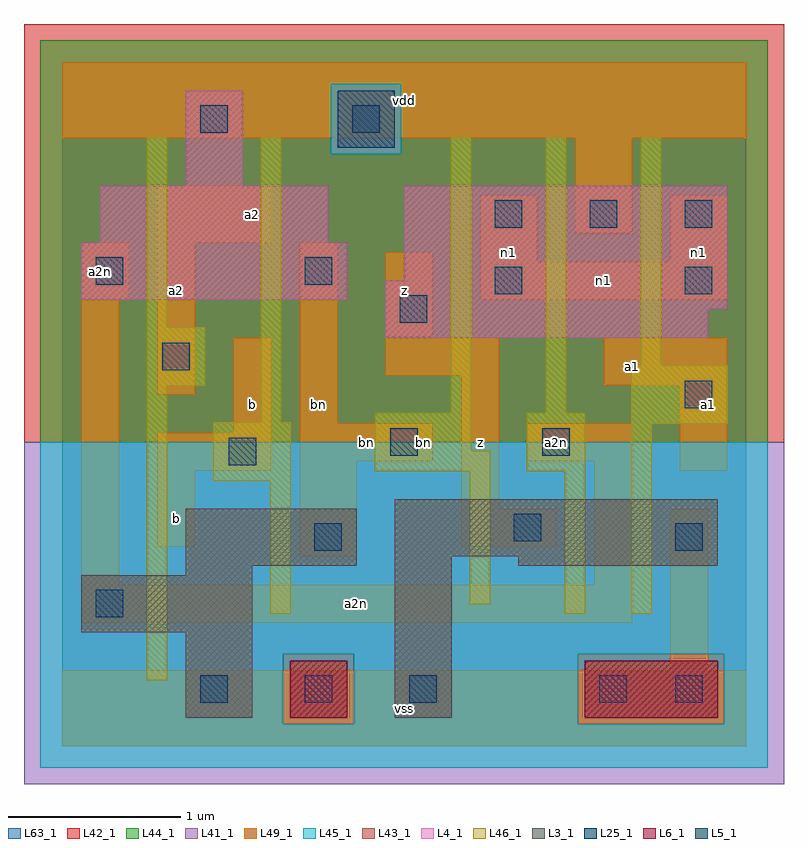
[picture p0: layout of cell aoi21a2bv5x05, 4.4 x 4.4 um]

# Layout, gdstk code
import gdstk
lib = gdstk.Library(unit=1e-6, precision=1e-09)
def R(c, l, rs):  # rectangles x0, y0, x1, y1
    for r in rs: c.add(gdstk.rectangle(r[:2], r[2:], *l))
def A(c, l, x, y, w, h, nx, ny, dx, dy):  # array of equal rectangles
    R(c, l, [(x+i*dx, y+j*dy, x+i*dx+w, y+j*dy+h) for i in range(nx) for j in range(ny)])
L3_1 = (3, 1)
L4_1 = (4, 1)
L5_1 = (5, 1)
L6_1 = (6, 1)
L25_1 = (25, 1)
L41_1 = (41, 1)
L42_1 = (42, 1)
L43_1 = (43, 1)
L44_1 = (44, 1)
L45_1 = (45, 1)
L46_1 = (46, 1)
L49_1 = (49, 1)
L63_1 = (63, 1)

aoi21a2bv5x05 = lib.new_cell('aoi21a2bv5x05')
R(aoi21a2bv5x05, L3_1, [(0.715,0.165,1.1,0.66), (1.925,0.165,2.255,1.1), (0.11,0.66,1.1,0.99), (0.715,0.99,1.1,1.045), (0.715,1.045,1.705,1.375), (2.64,1.045,3.795,1.1), (1.925,1.1,3.795,1.43)])
R(aoi21a2bv5x05, L4_1, [(1.87,2.365,3.74,2.53), (1.87,2.53,3.85,2.695), (0.11,2.585,1.65,2.915), (1.98,2.695,3.85,3.245), (0.22,2.915,1.54,3.245), (0.715,3.245,1.045,3.795)])
R(aoi21a2bv5x05, L5_1, [(1.595,3.465,1.925,3.795)])
R(aoi21a2bv5x05, L6_1, [(1.32,0.165,1.65,0.495), (3.025,0.165,3.795,0.495)])
A(aoi21a2bv5x05, L25_1, 0.8, 0.25, 0.16, 0.16, 3, 1, 0.605, 0)
A(aoi21a2bv5x05, L25_1, 2.505, 3, 0.16, 0.16, 3, 1, 0.55, 0)
R(aoi21a2bv5x05, L25_1, [(3.11,0.25,3.27,0.41), (3.55,0.25,3.71,0.41), (0.195,0.745,0.355,0.905), (1.46,1.13,1.62,1.29), (3.55,1.13,3.71,1.29), (2.615,1.185,2.775,1.345), (0.965,1.625,1.125,1.785), (1.9,1.68,2.06,1.84), (2.78,1.68,2.94,1.84), (3.605,1.955,3.765,2.115), (0.58,2.175,0.74,2.335), (1.955,2.45,2.115,2.61), (2.505,2.615,2.665,2.775), (3.605,2.615,3.765,2.775), (0.195,2.67,0.355,2.83), (1.405,2.67,1.565,2.83), (0.8,3.55,0.96,3.71), (1.68,3.55,1.84,3.71)])
R(aoi21a2bv5x05, L41_1, [(-0.22,-0.22,4.18,1.76)])
R(aoi21a2bv5x05, L42_1, [(-0.22,1.76,4.18,4.18)])
R(aoi21a2bv5x05, L43_1, [(0.715,0.165,1.1,0.66), (1.32,0.165,1.65,0.495), (1.925,0.165,2.255,1.1), (3.025,0.165,3.795,0.495), (0.11,0.66,1.1,0.99), (0.715,0.99,1.1,1.045), (0.715,1.045,1.705,1.375), (2.64,1.045,3.795,1.1), (1.925,1.1,3.795,1.43), (1.87,2.365,3.74,2.53), (1.87,2.53,3.85,2.695), (0.11,2.585,1.65,2.915), (1.98,2.695,3.85,3.245), (0.22,2.915,1.54,3.245), (0.715,3.245,1.045,3.795), (1.595,3.465,1.925,3.795)])
R(aoi21a2bv5x05, L44_1, [(1.28,0.125,1.69,0.535), (2.985,0.125,3.835,0.535), (-0.125,1.76,4.085,3.425), (-0.125,3.425,1.555,3.835), (1.965,3.425,4.085,3.835), (-0.125,3.835,4.085,4.085)])
R(aoi21a2bv5x05, L45_1, [(-0.125,-0.125,4.085,0.125), (-0.125,0.125,1.28,0.535), (1.69,0.125,2.985,0.535), (3.835,0.125,4.085,0.535), (-0.125,0.535,4.085,1.76), (1.555,3.425,1.965,3.835)])
R(aoi21a2bv5x05, L46_1, [(0.49,0.38,0.61,2.085), (1.205,0.765,1.325,1.535), (2.91,0.765,3.03,1.59), (3.295,0.765,3.415,1.865), (2.36,0.82,2.48,1.59), (0.875,1.535,1.325,1.875), (1.81,1.59,2.48,1.71), (2.69,1.59,3.03,1.93), (1.81,1.71,2.37,1.93), (3.295,1.865,3.855,2.205), (1.15,1.875,1.27,3.525), (2.25,1.93,2.37,3.525), (2.8,1.93,2.92,3.525), (0.49,2.085,0.83,2.425), (3.35,2.205,3.47,3.525), (0.49,2.425,0.61,3.525)])
R(aoi21a2bv5x05, L49_1, [(0,0,3.96,0.44), (3.52,0.44,3.74,1.375), (0.11,0.715,3.3,0.935), (0.11,0.935,0.33,2.585), (3.08,0.935,3.3,1.65), (1.375,1.1,1.705,1.65), (0.55,1.155,0.77,1.595), (2.31,1.155,2.86,1.375), (2.31,1.375,2.53,2.145), (0.55,1.595,1.21,1.815), (3.575,1.595,3.85,2.09), (1.375,1.65,2.145,1.87), (2.695,1.65,3.3,1.87), (0.99,1.815,1.21,2.365), (1.375,1.87,1.595,2.915), (0.55,2.035,0.77,2.915), (3.135,2.09,3.85,2.365), (1.87,2.145,2.53,2.365), (1.87,2.365,2.145,2.86), (0.11,2.585,0.385,2.915), (2.42,2.585,3.85,2.805), (2.42,2.805,2.75,3.19), (3.52,2.805,3.85,3.19), (0.55,2.915,1.21,3.245), (2.97,2.97,3.3,3.52), (0,3.52,3.96,3.96)])
R(aoi21a2bv5x05, L63_1, [(0,0,3.96,3.96)])
aoi21a2bv5x05.add(gdstk.Label('bn', (2.09,1.76), layer=46, texttype=1))
aoi21a2bv5x05.add(gdstk.Label('a2n', (2.86,1.76), layer=49, texttype=1))
aoi21a2bv5x05.add(gdstk.Label('b', (0.66,1.32), layer=49, texttype=1))
aoi21a2bv5x05.add(gdstk.Label('a2n', (0.22,2.75), layer=49, texttype=1))
aoi21a2bv5x05.add(gdstk.Label('a2', (0.66,2.64), layer=49, texttype=1))
aoi21a2bv5x05.add(gdstk.Label('bn', (1.485,1.98), layer=49, texttype=1))
aoi21a2bv5x05.add(gdstk.Label('b', (1.1,1.98), layer=49, texttype=1))
aoi21a2bv5x05.add(gdstk.Label('a2', (1.1,3.08), layer=49, texttype=1))
aoi21a2bv5x05.add(gdstk.Label('vss', (1.98,0.22), layer=49, texttype=1))
aoi21a2bv5x05.add(gdstk.Label('bn', (1.76,1.76), layer=49, texttype=1))
aoi21a2bv5x05.add(gdstk.Label('z', (2.42,1.76), layer=49, texttype=1))
aoi21a2bv5x05.add(gdstk.Label('z', (1.98,2.64), layer=49, texttype=1))
aoi21a2bv5x05.add(gdstk.Label('n1', (2.585,2.86), layer=49, texttype=1))
aoi21a2bv5x05.add(gdstk.Label('vdd', (1.98,3.74), layer=49, texttype=1))
aoi21a2bv5x05.add(gdstk.Label('a2n', (1.705,0.825), layer=49, texttype=1))
aoi21a2bv5x05.add(gdstk.Label('a2n', (2.97,1.76), layer=49, texttype=1))
aoi21a2bv5x05.add(gdstk.Label('a1', (3.3,2.2), layer=49, texttype=1))
aoi21a2bv5x05.add(gdstk.Label('a1', (3.74,1.98), layer=49, texttype=1))
aoi21a2bv5x05.add(gdstk.Label('n1', (3.135,2.695), layer=49, texttype=1))
aoi21a2bv5x05.add(gdstk.Label('n1', (3.685,2.86), layer=49, texttype=1))

lib.write_gds('aoi21a2bv5x05.gds')
